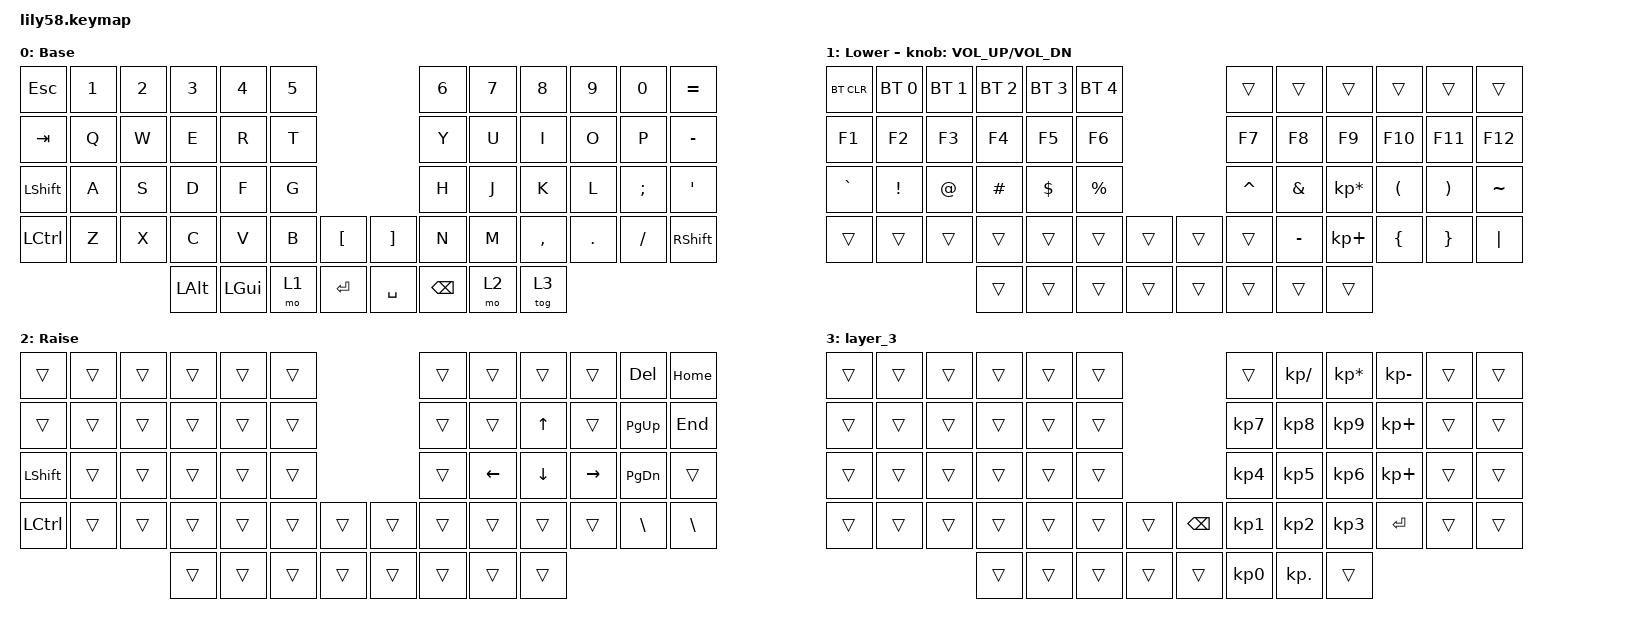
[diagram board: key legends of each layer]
/*
 * Copyright (c) 2020 The ZMK Contributors
 *
 * SPDX-License-Identifier: MIT
 */

#include <behaviors.dtsi>
#include <dt-bindings/zmk/bt.h>
#include <dt-bindings/zmk/keys.h>

/ {
    keymap {
        compatible = "zmk,keymap";

        default_layer {
            // ------------------------------------------------------------------------------------------------------------
            // |  ESC  |  1  |  2  |  3   |  4   |  5   |                   |  6   |  7    |  8    |  9   |   0   |   `   |
            // |  TAB  |  Q  |  W  |  E   |  R   |  T   |                   |  Y   |  U    |  I    |  O   |   P   |   -   |
            // |  CTRL |  A  |  S  |  D   |  F   |  G   |                   |  H   |  J    |  K    |  L   |   ;   |   '   |
            // | SHIFT |  Z  |  X  |  C   |  V   |  B   |   "["  |  |  "]"  |  N   |  M    |  ,    |  .   |   /   | SHIFT |
            //                     | ALT  | GUI  | LOWER|  SPACE |  | ENTER | RAISE| BSPC  | GUI   |

            display-name = "Base";
            bindings = <
&kp ESC           &kp N1  &kp N2  &kp N3    &kp N4    &kp N5                           &kp N6         &kp N7  &kp N8     &kp N9   &kp N0    &kp EQUAL
&kp TAB           &kp Q   &kp W   &kp E     &kp R     &kp T                            &kp Y          &kp U   &kp I      &kp O    &kp P     &kp MINUS
&kp LEFT_SHIFT    &kp A   &kp S   &kp D     &kp F     &kp G                            &kp H          &kp J   &kp K      &kp L    &kp SEMI  &kp SQT
&kp LEFT_CONTROL  &kp Z   &kp X   &kp C     &kp V     &kp B   &kp LBKT      &kp RBKT   &kp N          &kp M   &kp COMMA  &kp DOT  &kp FSLH  &kp RSHFT
                                  &kp LALT  &kp LGUI  &mo 1   &kp RETURN    &kp SPACE  &kp BACKSPACE  &mo 2   &tog 3
            >;
        };

        lower_layer {
            // ------------------------------------------------------------------------------------------------------------
            // | BTCLR | BT1 | BT2 |  BT3 |  BT4 |  BT5 |                   |      |       |       |      |       |       |
            // |  F1   |  F2 |  F3 |  F4  |  F5  |  F6  |                   |  F7  |  F8   |  F9   |  F10 |  F11  |  F12  |
            // |   `   |  !  |  @  |  #   |  $   |  %   |                   |  ^   |  &    |  *    |  (   |   )   |   ~   |
            // |       |     |     |      |      |      |        |  |       |      |  _    |  +    |  {   |   }   |  "|"  |
            //                     |      |      |      |        |  |       |      |       |       |

            display-name = "Lower";
            bindings = <
&bt BT_CLR  &bt BT_SEL 0  &bt BT_SEL 1  &bt BT_SEL 2  &bt BT_SEL 3  &bt BT_SEL 4                    &trans     &trans     &trans           &trans    &trans    &trans
&kp F1      &kp F2        &kp F3        &kp F4        &kp F5        &kp F6                          &kp F7     &kp F8     &kp F9           &kp F10   &kp F11   &kp F12
&kp GRAVE   &kp EXCL      &kp AT        &kp HASH      &kp DOLLAR    &kp PRCNT                       &kp CARET  &kp AMPS   &kp KP_MULTIPLY  &kp LPAR  &kp RPAR  &kp TILDE
&trans      &trans        &trans        &trans        &trans        &trans        &trans    &trans  &trans     &kp MINUS  &kp KP_PLUS      &kp LBRC  &kp RBRC  &kp PIPE
                                        &trans        &trans        &trans        &trans    &trans  &trans     &trans     &trans
            >;

            sensor-bindings = <&inc_dec_kp C_VOL_UP C_VOL_DN>;
        };

        raise_layer {
            // ------------------------------------------------------------------------------------------------------------
            // |       |     |     |      |      |      |                   |      |       |       |      |       |       |
            // |   `   |  1  |  2  |  3   |  4   |  5   |                   |  6   |   7   |   8   |  9   |   0   |       |
            // |   F1  |  F2 |  F3 |  F4  |  F5  |  F6  |                   |      |   <-  |   v   |  ^   |  ->   |       |
            // |   F7  |  F8 |  F9 |  F10 |  F11 |  F12 |        |  |       |  +   |   -   |   =   |  [   |   ]   |   \   |
            //                     |      |      |      |        |  |       |      |       |       |

            display-name = "Raise";
            bindings = <
&trans          &trans  &trans  &trans  &trans  &trans                    &trans  &trans    &trans    &trans     &kp DEL        &kp HOME
&trans          &trans  &trans  &trans  &trans  &trans                    &trans  &trans    &kp UP    &trans     &kp PAGE_UP    &kp END
&kp LEFT_SHIFT  &trans  &trans  &trans  &trans  &trans                    &trans  &kp LEFT  &kp DOWN  &kp RIGHT  &kp PAGE_DOWN  &trans
&kp LCTRL       &trans  &trans  &trans  &trans  &trans  &trans    &trans  &trans  &trans    &trans    &trans     &kp BACKSLASH  &kp BACKSLASH
                                &trans  &trans  &trans  &trans    &trans  &trans  &trans    &trans
            >;
        };

        layer_3 {
            bindings = <
&trans  &trans  &trans  &trans  &trans  &trans                           &trans           &kp KP_DIVIDE    &kp KP_MULTIPLY  &kp KP_SUBTRACT  &trans  &trans
&trans  &trans  &trans  &trans  &trans  &trans                           &kp KP_NUMBER_7  &kp KP_NUMBER_8  &kp KP_NUMBER_9  &kp KP_PLUS      &trans  &trans
&trans  &trans  &trans  &trans  &trans  &trans                           &kp KP_NUMBER_4  &kp KP_NUMBER_5  &kp KP_NUMBER_6  &kp KP_PLUS      &trans  &trans
&trans  &trans  &trans  &trans  &trans  &trans  &trans    &kp BACKSPACE  &kp KP_NUMBER_1  &kp KP_NUMBER_2  &kp KP_NUMBER_3  &kp RET          &trans  &trans
                        &trans  &trans  &trans  &trans    &trans         &kp KP_NUMBER_0  &kp KP_DOT       &trans
            >;
        };
    };
};
